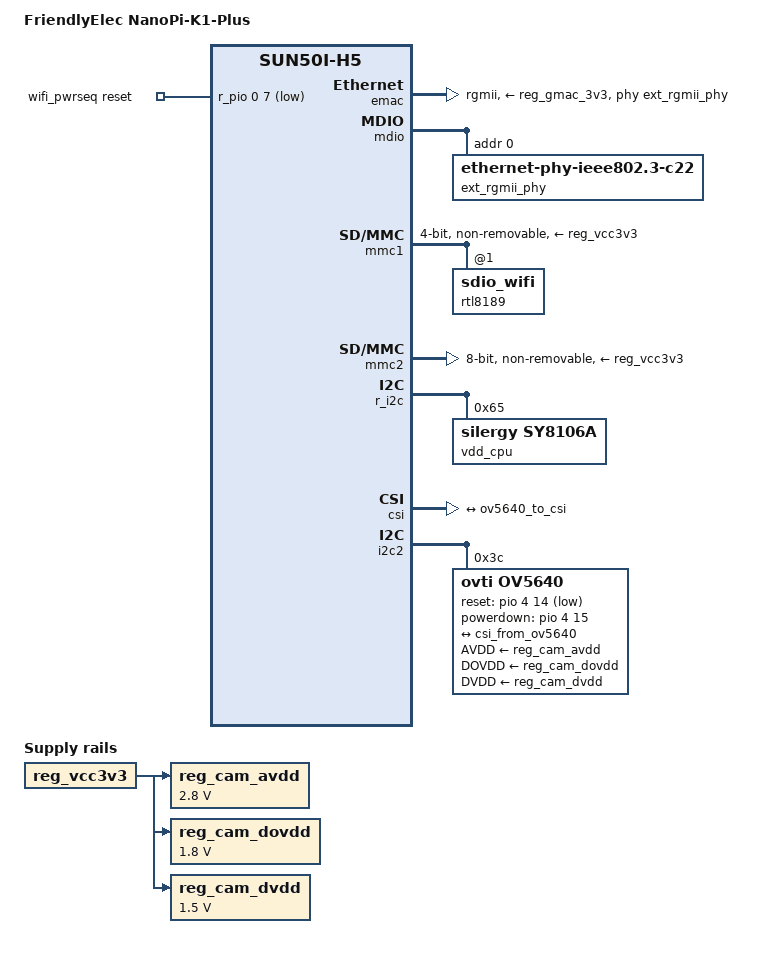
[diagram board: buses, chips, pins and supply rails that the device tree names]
/*
 * Copyright (C) 2016 ARM Ltd.
 *
 * This file is dual-licensed: you can use it either under the terms
 * of the GPL or the X11 license, at your option. Note that this dual
 * licensing only applies to this file, and not this project as a
 * whole.
 *
 *  a) This file is free software; you can redistribute it and/or
 *     modify it under the terms of the GNU General Public License as
 *     published by the Free Software Foundation; either version 2 of the
 *     License, or (at your option) any later version.
 *
 *     This file is distributed in the hope that it will be useful,
 *     but WITHOUT ANY WARRANTY; without even the implied warranty of
 *     MERCHANTABILITY or FITNESS FOR A PARTICULAR PURPOSE.  See the
 *     GNU General Public License for more details.
 *
 * Or, alternatively,
 *
 *  b) Permission is hereby granted, free of charge, to any person
 *     obtaining a copy of this software and associated documentation
 *     files (the "Software"), to deal in the Software without
 *     restriction, including without limitation the rights to use,
 *     copy, modify, merge, publish, distribute, sublicense, and/or
 *     sell copies of the Software, and to permit persons to whom the
 *     Software is furnished to do so, subject to the following
 *     conditions:
 *
 *     The above copyright notice and this permission notice shall be
 *     included in all copies or substantial portions of the Software.
 *
 *     THE SOFTWARE IS PROVIDED "AS IS", WITHOUT WARRANTY OF ANY KIND,
 *     EXPRESS OR IMPLIED, INCLUDING BUT NOT LIMITED TO THE WARRANTIES
 *     OF MERCHANTABILITY, FITNESS FOR A PARTICULAR PURPOSE AND
 *     NONINFRINGEMENT. IN NO EVENT SHALL THE AUTHORS OR COPYRIGHT
 *     HOLDERS BE LIABLE FOR ANY CLAIM, DAMAGES OR OTHER LIABILITY,
 *     WHETHER IN AN ACTION OF CONTRACT, TORT OR OTHERWISE, ARISING
 *     FROM, OUT OF OR IN CONNECTION WITH THE SOFTWARE OR THE USE OR
 *     OTHER DEALINGS IN THE SOFTWARE.
 */

#include "sun50i-h5-nanopi.dtsi"

/ {
	model = "FriendlyElec NanoPi-K1-Plus";
	compatible = "friendlyelec,nanopi-k1-plus", "allwinner,sun50i-h5";

	wifi_pwrseq: wifi_pwrseq {
		compatible = "mmc-pwrseq-simple";
		pinctrl-names = "default";
		pinctrl-0 = <&wifi_en_npi>;
		reset-gpios = <&r_pio 0 7 GPIO_ACTIVE_LOW>; /* PL7 */
		post-power-on-delay-ms = <200>;
	};

	cam_xclk: cam-xclk {
		#clock-cells = <0>;
		compatible = "fixed-clock";
		clock-frequency = <24000000>;
		clock-output-names = "cam-xclk";
	};

	reg_cam_avdd: cam-avdd {
		compatible = "regulator-fixed";
		regulator-name = "cam500b-avdd";
		regulator-min-microvolt = <2800000>;
		regulator-max-microvolt = <2800000>;
		vin-supply = <&reg_vcc3v3>;
	};

	reg_cam_dovdd: cam-dovdd {
		compatible = "regulator-fixed";
		regulator-name = "cam500b-dovdd";
		regulator-min-microvolt = <1800000>;
		regulator-max-microvolt = <1800000>;
		vin-supply = <&reg_vcc3v3>;
	};

	reg_cam_dvdd: cam-dvdd {
		compatible = "regulator-fixed";
		regulator-name = "cam500b-dvdd";
		regulator-min-microvolt = <1500000>;
		regulator-max-microvolt = <1500000>;
		vin-supply = <&reg_vcc3v3>;
	};
};

&cpu0 {
	operating-points = <
		/* kHz	  uV */
		1368000 1400000
		1296000 1340000
		1248000 1280000
		1200000 1240000
		1152000 1200000
		1008000 1100000
		816000  1100000
		624000  1040000
		480000  1040000
		>;
	#cooling-cells = <2>;
	cooling-min-level = <0>;
	cooling-max-level = <8>;
	cpu0-supply = <&vdd_cpu>;
};

&cpu_thermal {
	trips {
		cpu_warm: cpu_warm {
			temperature = <60000>;
			hysteresis = <2000>;
			type = "passive";
		};
		cpu_hot: cpu_hot {
			temperature = <70000>;
			hysteresis = <2000>;
			type = "passive";
		};
		cpu_very_hot: cpu_very_hot {
			temperature = <80000>;
			hysteresis = <2000>;
			type = "passive";
		};
		cpu_alert_hot: cpu_alert_hot {
			temperature = <90000>;
			hysteresis = <2000>;
			type = "passive";
		};
		cpu_crit: cpu_crit {
			temperature = <100000>;
			hysteresis = <2000>;
			type = "critical";
		};
	};

	cooling-maps {
		cpu_warm_limit_cpu {
			trip = <&cpu_warm>;
			cooling-device = <&cpu0 THERMAL_NO_LIMIT 1>;
		};
		cpu_hot_limit_cpu {
			trip = <&cpu_hot>;
			cooling-device = <&cpu0 THERMAL_NO_LIMIT 3>;
		};
		cpu_very_hot_limit_cpu {
			trip = <&cpu_very_hot>;
			cooling-device = <&cpu0 THERMAL_NO_LIMIT 5>;
		};
		cpu_alert_hot_limit_cpu {
			trip = <&cpu_alert_hot>;
			cooling-device = <&cpu0 8 THERMAL_NO_LIMIT>;
		};
	};
};

&emac {
	pinctrl-names = "default";
	pinctrl-0 = <&emac_rgmii_pins>;
	phy-supply = <&reg_gmac_3v3>;
	phy-handle = <&ext_rgmii_phy>;
	phy-mode = "rgmii";
	allwinner,leds-active-low;
	status = "okay";
};

&mdio {
	ext_rgmii_phy: ethernet-phy@1 {
		compatible = "ethernet-phy-ieee802.3-c22";
		reg = <0>;
	};
};

&mmc1 {
	pinctrl-names = "default";
	pinctrl-0 = <&mmc1_pins_a>;
	vmmc-supply = <&reg_vcc3v3>;
	vqmmc-supply = <&reg_vcc3v3>;
	mmc-pwrseq = <&wifi_pwrseq>;
	bus-width = <4>;
	non-removable;
	status = "okay";

    /*
     * Explicitly define the sdio device, so that we can add an ethernet
     * alias for it (which e.g. makes u-boot set a mac-address).
     */
    rtl8189: sdio_wifi@1 {
        reg = <1>;
    };
};

&mmc2 {
	pinctrl-names = "default";
	pinctrl-0 = <&mmc2_8bit_pins>;
	vmmc-supply = <&reg_vcc3v3>;
	bus-width = <8>;
	non-removable;
	cap-mmc-hw-reset;
	status = "okay";
};

&mmc2_8bit_pins {
	/* Increase drive strength for DDR modes */
	drive-strength = <40>;
	/* eMMC is missing pull-ups */
	bias-pull-up;
};

&r_pio {
	wifi_en_npi: wifi_en_pin {
		pins = "PL7";
		function = "gpio_out";
    };
};

&r_i2c {
	status = "okay";

	vdd_cpu: regulator@65 {
		compatible = "silergy,sy8106a";
		reg = <0x65>;
		regulator-min-microvolt = <940000>;
		regulator-max-microvolt = <1400000>;
		regulator-ramp-delay = <200>;
		regulator-boot-on;
		regulator-always-on;
	};
};

&csi {
    status = "okay";

    port {
        #address-cells = <1>;
        #size-cells = <0>;

        /* Parallel bus endpoint */
        csi_from_ov5640: endpoint {
            remote-endpoint = <&ov5640_to_csi>;
            bus-width = <8>;
            data-shift = <2>;
            hsync-active = <1>; /* Active high */
            vsync-active = <0>; /* Active low */
            data-active = <1>;  /* Active high */
            pclk-sample = <1>;  /* Rising */
        };
    };
};

&i2c2 {
   status = "okay";

   ov5640: camera@3c {
        compatible = "ovti,ov5640";
        reg = <0x3c>;
        clocks = <&cam_xclk>;
        clock-names = "xclk";

        reset-gpios = <&pio 4 14 GPIO_ACTIVE_LOW>;
        powerdown-gpios = <&pio 4 15 GPIO_ACTIVE_HIGH>;
        AVDD-supply = <&reg_cam_avdd>;
        DOVDD-supply = <&reg_cam_dovdd>;
        DVDD-supply = <&reg_cam_dvdd>;

        port {
            ov5640_to_csi: endpoint {
                remote-endpoint = <&csi_from_ov5640>;
                bus-width = <8>;
                data-shift = <2>;
                hsync-active = <1>; /* Active high */
                vsync-active = <0>; /* Active low */
                data-active = <1>;  /* Active high */
                pclk-sample = <1>;  /* Rising */
            };
        };
    };
};

&i2c2_pins {
   bias-pull-up;
};

